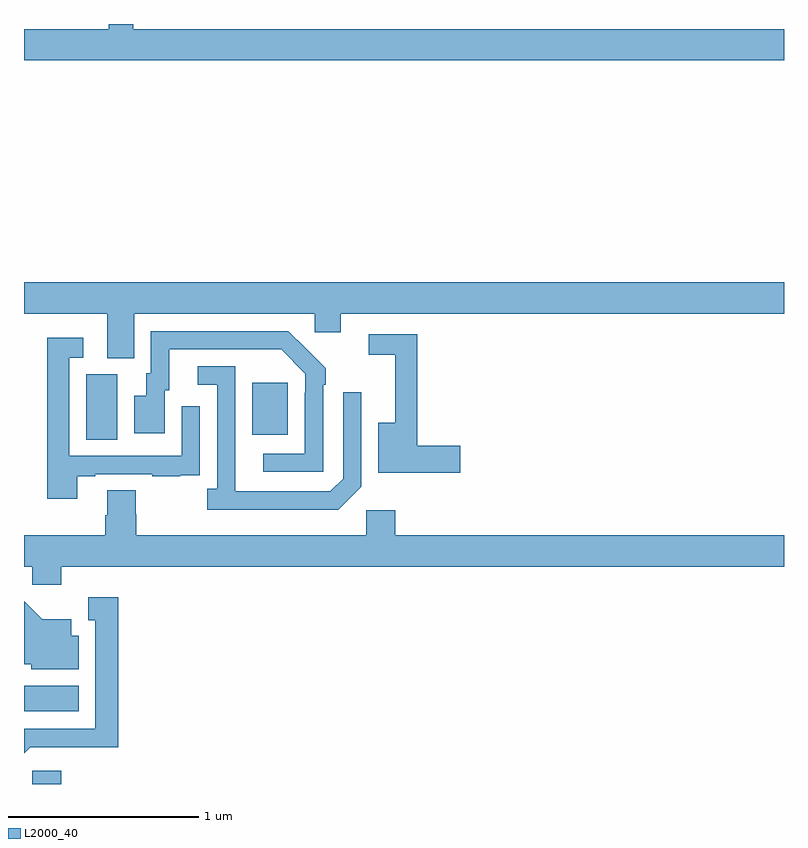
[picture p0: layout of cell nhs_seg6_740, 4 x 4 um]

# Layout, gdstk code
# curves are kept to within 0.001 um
import gdstk
lib = gdstk.Library(unit=1e-6, precision=1e-09)
def R(c, l, rs):  # rectangles x0, y0, x1, y1
    for r in rs: c.add(gdstk.rectangle(r[:2], r[2:], *l))
def P(c, l, *ps):  # polygons
    for p in ps: c.add(gdstk.Polygon(p, *l))
L2000_40 = (2000, 40)

nhs_seg6_740 = lib.new_cell('nhs_seg6_740')
R(nhs_seg6_740, L2000_40, [(157.044,971.5,157.196,971.569), (157,971.882,157.288,972.016), (157.328,973.312,157.492,973.656), (158.201,973.337,158.389,973.612)])
P(nhs_seg6_740, L2000_40, [(161,975.472),(157.576,975.472),(157.576,975.5),(157.447,975.5),(157.447,975.472),(157,975.472),(157,975.308),(161,975.308)],
  [(157.579,973.976),(158.529,973.976),(158.529,973.878),(158.668,973.878),(158.668,973.976),(161,973.976),(161,974.14),(157,974.14),(157,973.976),(157.439,973.976),(157.439,973.741),(157.579,973.741)],
  [(158.574,973.601),(158.589,973.601),(158.589,973.689),(158.392,973.884),(157.668,973.884),(157.668,973.662),(157.643,973.662),(157.643,973.543),(157.58,973.543),(157.58,973.347),(157.741,973.347),(157.741,973.572),(157.765,973.572),(157.765,973.788),(158.353,973.788),(158.481,973.659),(158.481,973.559),(158.478,973.559),(158.478,973.239),(158.259,973.239),(158.259,973.143),(158.574,973.143)],
  [(159.295,973.28),(159.071,973.28),(159.071,973.866),(158.814,973.866),(158.814,973.758),(158.954,973.758),(158.954,973.402),(158.864,973.402),(158.864,973.138),(159.295,973.138)],
  [(157.279,973.119),(157.375,973.119),(157.375,973.131),(157.675,973.131),(157.675,973.119),(157.823,973.119),(157.823,973.125),(157.925,973.125),(157.925,973.234),(157.926,973.234),(157.926,973.489),(157.83,973.489),(157.83,973.227),(157.239,973.227),(157.239,973.743),(157.312,973.743),(157.312,973.849),(157.123,973.849),(157.123,973.002),(157.279,973.002)],
  [(158.775,973.065),(158.775,973.561),(158.679,973.561),(158.679,973.107),(158.613,973.041),(158.113,973.041),(158.112,973.698),(157.914,973.698),(157.914,973.602),(158.016,973.602),(158.016,973.054),(157.965,973.054),(157.965,972.944),(158.654,972.944)],
  [(157.196,972.644),(161,972.644),(161,972.808),(158.954,972.808),(158.954,972.94),(158.802,972.94),(158.802,972.808),(157.592,972.808),(157.592,972.921),(157.587,972.921),(157.587,973.046),(157.439,973.046),(157.439,972.914),(157.427,972.914),(157.427,972.808),(157,972.808),(157,972.644),(157.044,972.644),(157.044,972.549),(157.196,972.549)],
  [(157.032,971.694),(157.254,971.694),(157.254,971.693),(157.495,971.693),(157.495,972.484),(157.337,972.484),(157.337,972.363),(157.376,972.363),(157.376,971.79),(157,971.79),(157,971.662)],
  [(157.288,972.28),(157.249,972.28),(157.249,972.367),(157.097,972.367),(157,972.463),(157,972.131),(157.038,972.131),(157.038,972.104),(157.288,972.104)])

lib.write_gds('nhs_seg6_740.gds')
